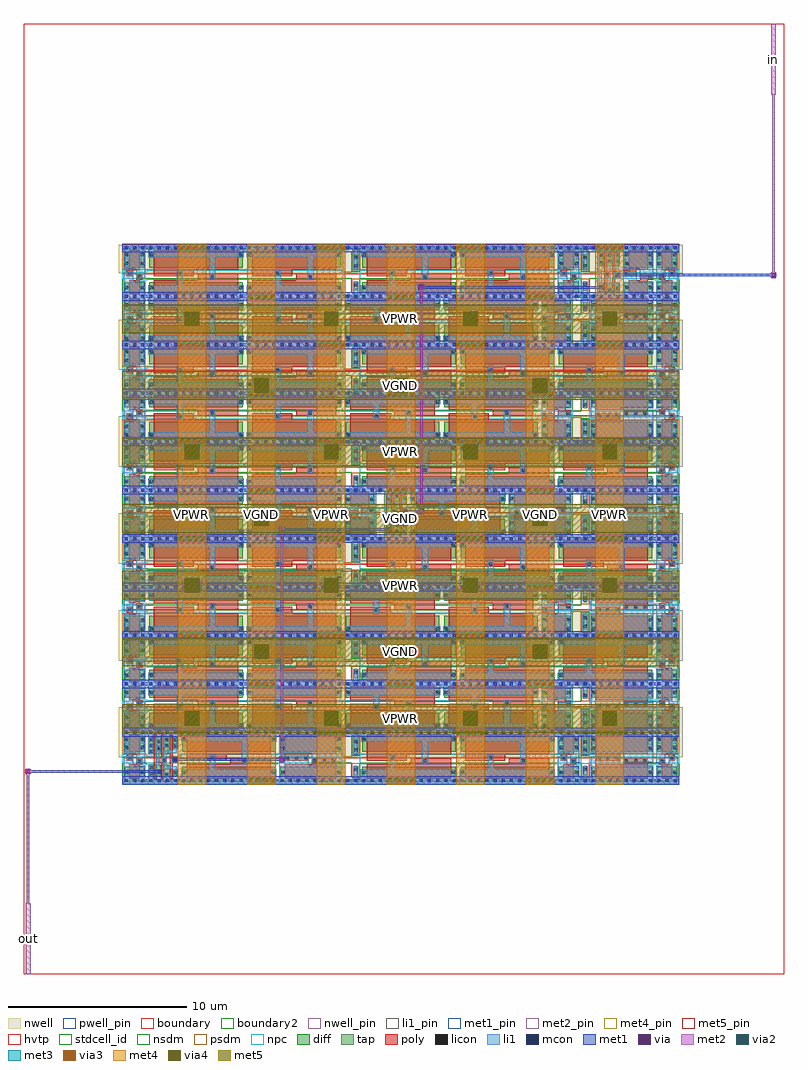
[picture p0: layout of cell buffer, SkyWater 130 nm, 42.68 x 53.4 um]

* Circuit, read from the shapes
.subckt buffer VGND VPWR in out
XM1 VGND VPWR VGND VGND sky130_fd_pr__nfet_01v8 w=0.55 l=0.59 m=24
XM2 VGND VPWR VGND VGND sky130_fd_pr__nfet_01v8 w=0.55 l=4.73 m=46
XM3 out n1 VGND VGND sky130_fd_pr__nfet_01v8 w=0.65 l=0.15 m=2
XM4 n1 sky130_fd_sc_hd__buf_2_4/A VGND VGND sky130_fd_pr__nfet_01v8 w=0.42 l=0.15
XM5 VGND VPWR VGND VGND sky130_fd_pr__nfet_01v8 w=0.55 l=2.89 m=8
XM6 VGND VPWR VGND VGND sky130_fd_pr__nfet_01v8 w=0.55 l=1.05 m=6
XM7 VGND n2 sky130_fd_sc_hd__buf_2_4/A VGND sky130_fd_pr__nfet_01v8 w=0.52 l=0.15
XM8 n2 sky130_fd_sc_hd__clkbuf_1_56/A VGND VGND sky130_fd_pr__nfet_01v8 w=0.52 l=0.15
XM9 VGND n3 sky130_fd_sc_hd__clkbuf_1_56/A VGND sky130_fd_pr__nfet_01v8 w=0.52 l=0.15
XM10 n3 in VGND VGND sky130_fd_pr__nfet_01v8 w=0.52 l=0.15
XM11 VPWR VGND VPWR VPWR sky130_fd_pr__pfet_01v8_hvt w=0.87 l=0.59 m=24
XM12 VPWR VGND VPWR VPWR sky130_fd_pr__pfet_01v8_hvt w=0.87 l=4.73 m=46
XM13 out n1 VPWR VPWR sky130_fd_pr__pfet_01v8_hvt w=1 l=0.15 m=2
XM14 n1 sky130_fd_sc_hd__buf_2_4/A VPWR VPWR sky130_fd_pr__pfet_01v8_hvt w=0.64 l=0.15
XM15 VPWR VGND VPWR VPWR sky130_fd_pr__pfet_01v8_hvt w=0.87 l=2.89 m=8
XM16 VPWR VGND VPWR VPWR sky130_fd_pr__pfet_01v8_hvt w=0.87 l=1.05 m=6
XM17 VPWR n2 sky130_fd_sc_hd__buf_2_4/A VPWR sky130_fd_pr__pfet_01v8_hvt w=0.79 l=0.15
XM18 n2 sky130_fd_sc_hd__clkbuf_1_56/A VPWR VPWR sky130_fd_pr__pfet_01v8_hvt w=0.79 l=0.15
XM19 VPWR n3 sky130_fd_sc_hd__clkbuf_1_56/A VPWR sky130_fd_pr__pfet_01v8_hvt w=0.79 l=0.15
XM20 n3 in VPWR VPWR sky130_fd_pr__pfet_01v8_hvt w=0.79 l=0.15
.ends

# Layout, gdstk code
from math import pi, radians
import gdstk
lib = gdstk.Library(unit=1e-6, precision=1e-09)
def R(c, l, rs):  # rectangles x0, y0, x1, y1
    for r in rs: c.add(gdstk.rectangle(r[:2], r[2:], *l))
def A(c, l, x, y, w, h, nx, ny, dx, dy):  # array of equal rectangles
    R(c, l, [(x+i*dx, y+j*dy, x+i*dx+w, y+j*dy+h) for i in range(nx) for j in range(ny)])
def P(c, l, *ps):  # polygons
    for p in ps: c.add(gdstk.Polygon(p, *l))
nwell_pin = (64, 16)
nwell = (64, 20)
diff = (65, 20)
tap = (65, 44)
poly = (66, 20)
licon = (66, 44)
li1_pin = (67, 16)
li1 = (67, 20)
mcon = (67, 44)
met1_pin = (68, 16)
met1 = (68, 20)
via = (68, 44)
met2_pin = (69, 16)
met2 = (69, 20)
via2 = (69, 44)
met3 = (70, 20)
via3 = (70, 44)
met4_pin = (71, 16)
met4 = (71, 20)
via4 = (71, 44)
met5_pin = (72, 16)
met5 = (72, 20)
hvtp = (78, 44)
stdcell_id = (81, 4)
nsdm = (93, 44)
psdm = (94, 20)
npc = (95, 20)
pwell_pin = (122, 16)
boundary = (235, 4)
boundary2 = (236, 0)

sky130_ef_sc_hd__decap_1 = lib.new_cell('sky130_ef_sc_hd__decap_12')
R(sky130_ef_sc_hd__decap_1, nwell_pin, [(0.145,2.635,0.315,2.805)])
R(sky130_ef_sc_hd__decap_1, nwell, [(-0.19,1.305,5.71,2.91)])
R(sky130_ef_sc_hd__decap_1, diff, [(0.135,0.235,5.385,0.785), (0.135,1.615,5.385,2.485)])
P(sky130_ef_sc_hd__decap_1, poly, [(5.125,2.615),(0.395,2.615),(0.395,1.125),(2.645,1.125),(2.645,1.485),(5.125,1.485)],
  [(5.125,1.275),(2.855,1.275),(2.855,0.915),(0.395,0.915),(0.395,0.105),(5.125,0.105)])
R(sky130_ef_sc_hd__decap_1, licon, [(0.175,0.39,0.345,0.56), (5.175,0.39,5.345,0.56), (3.575,1.025,3.745,1.195), (1.755,1.205,1.925,1.375), (0.175,2.255,0.345,2.425), (5.175,2.255,5.345,2.425)])
R(sky130_ef_sc_hd__decap_1, li1, [(0.085,0.085,5.43,0.63), (1.67,0.63,2.01,1.46), (3.49,0.95,3.84,2.2), (0.085,2.2,5.43,2.635), (0,2.635,5.52,2.805)])
P(sky130_ef_sc_hd__decap_1, li1, [(0,-0.085),(5.52,-0.085),(5.52,0.085),(0,0.085),(0,0)])
A(sky130_ef_sc_hd__decap_1, mcon, 0.145, -0.085, 0.17, 0.17, 12, 2, 0.46, 2.72)
R(sky130_ef_sc_hd__decap_1, met1_pin, [(0.145,-0.085,0.315,0.085), (0.145,2.635,0.315,2.805)])
R(sky130_ef_sc_hd__decap_1, hvtp, [(0,1.25,5.52,2.72)])
R(sky130_ef_sc_hd__decap_1, stdcell_id, [(0,0,5.52,2.72)])
R(sky130_ef_sc_hd__decap_1, nsdm, [(0,-0.19,5.52,1.015)])
R(sky130_ef_sc_hd__decap_1, psdm, [(0,1.485,5.52,2.91)])
R(sky130_ef_sc_hd__decap_1, npc, [(0,0.925,5.52,1.475)])
R(sky130_ef_sc_hd__decap_1, pwell_pin, [(0.145,-0.085,0.315,0.085)])
R(sky130_ef_sc_hd__decap_1, boundary2, [(0,0,5.52,2.72)])
sky130_ef_sc_hd__decap_1.add(gdstk.FlexPath([(0,2.72),(5.52,2.72)], 0.48, ends="flush", simple_path=True, layer=68, datatype=20))  # met1
sky130_ef_sc_hd__decap_1.add(gdstk.FlexPath([(0,0),(5.52,0)], 0.48, ends="flush", simple_path=True, layer=68, datatype=20))  # met1
sky130_ef_sc_hd__decap_1.add(gdstk.Label('VGND', (0.23,0), layer=68, texttype=5))
sky130_ef_sc_hd__decap_1.add(gdstk.Label('VPWR', (0.23,2.72), layer=68, texttype=5))
sky130_ef_sc_hd__decap_1.add(gdstk.Label('VPB', (0.23,2.72), layer=64, texttype=5))
sky130_ef_sc_hd__decap_1.add(gdstk.Label('VNB', (0.23,0), layer=64, texttype=59))
sky130_ef_sc_hd__decap_1.add(gdstk.Label('decap_12', (0,0), layer=83, texttype=44))

sky130_fd_sc_hd__decap_3 = lib.new_cell('sky130_fd_sc_hd__decap_3')
R(sky130_fd_sc_hd__decap_3, nwell_pin, [(0.145,2.635,0.315,2.805)])
R(sky130_fd_sc_hd__decap_3, nwell, [(-0.19,1.305,1.57,2.91)])
R(sky130_fd_sc_hd__decap_3, diff, [(0.135,0.235,1.245,0.785), (0.135,1.615,1.245,2.485)])
P(sky130_fd_sc_hd__decap_3, poly, [(1.125,1.255),(0.795,1.255),(0.795,0.915),(0.395,0.915),(0.395,0.105),(0.985,0.105),(0.985,0.925),(1.125,0.925)],
  [(0.985,2.615),(0.395,2.615),(0.395,1.455),(0.255,1.455),(0.255,1.125),(0.585,1.125),(0.585,1.465),(0.985,1.465)])
R(sky130_fd_sc_hd__decap_3, licon, [(0.175,0.4,0.345,0.57), (1.035,0.4,1.205,0.57), (0.875,1.005,1.045,1.175), (0.335,1.205,0.505,1.375), (0.175,1.78,0.345,1.95), (1.035,1.78,1.205,1.95), (0.175,2.255,0.345,2.425), (1.035,2.255,1.205,2.425)])
P(sky130_fd_sc_hd__decap_3, li1, [(1.38,2.805),(0,2.805),(0,2.635),(0.085,2.635),(0.085,1.545),(0.775,1.545),(0.775,1.005),(1.295,1.005),(1.295,2.635),(1.38,2.635)],
  [(1.38,0.085),(1.295,0.085),(1.295,0.835),(0.605,0.835),(0.605,1.375),(0.085,1.375),(0.085,0.085),(0,0.085),(0,-0.085),(1.38,-0.085)])
A(sky130_fd_sc_hd__decap_3, mcon, 0.145, -0.085, 0.17, 0.17, 3, 2, 0.46, 2.72)
R(sky130_fd_sc_hd__decap_3, met1_pin, [(0.145,-0.085,0.315,0.085), (0.145,2.635,0.315,2.805)])
R(sky130_fd_sc_hd__decap_3, hvtp, [(0,1.25,1.38,2.72)])
R(sky130_fd_sc_hd__decap_3, stdcell_id, [(0,0,1.38,2.72)])
R(sky130_fd_sc_hd__decap_3, nsdm, [(0,-0.19,1.38,1.015)])
R(sky130_fd_sc_hd__decap_3, psdm, [(0,1.485,1.38,2.91)])
P(sky130_fd_sc_hd__decap_3, npc, [(1.38,1.345),(0.605,1.345),(0.605,1.475),(0,1.475),(0,0.975),(0.775,0.975),(0.775,0.905),(1.38,0.905)])
R(sky130_fd_sc_hd__decap_3, pwell_pin, [(0.145,-0.085,0.315,0.085)])
R(sky130_fd_sc_hd__decap_3, boundary2, [(0,0,1.38,2.72)])
sky130_fd_sc_hd__decap_3.add(gdstk.FlexPath([(0,2.72),(1.38,2.72)], 0.48, ends="flush", simple_path=True, layer=68, datatype=20))  # met1
sky130_fd_sc_hd__decap_3.add(gdstk.FlexPath([(0,0),(1.38,0)], 0.48, ends="flush", simple_path=True, layer=68, datatype=20))  # met1
sky130_fd_sc_hd__decap_3.add(gdstk.Label('VPWR', (0.23,2.72), layer=68, texttype=5))
sky130_fd_sc_hd__decap_3.add(gdstk.Label('VGND', (0.23,0), layer=68, texttype=5))
sky130_fd_sc_hd__decap_3.add(gdstk.Label('VPB', (0.23,2.72), layer=64, texttype=5))
sky130_fd_sc_hd__decap_3.add(gdstk.Label('VNB', (0.23,0), layer=64, texttype=59))
sky130_fd_sc_hd__decap_3.add(gdstk.Label('decap_3', (0,0), layer=83, texttype=44))

sky130_fd_sc_hd__buf_2 = lib.new_cell('sky130_fd_sc_hd__buf_2')
R(sky130_fd_sc_hd__buf_2, nwell_pin, [(0.145,2.635,0.315,2.805)])
R(sky130_fd_sc_hd__buf_2, nwell, [(-0.19,1.305,2.03,2.91)])
P(sky130_fd_sc_hd__buf_2, diff, [(1.705,2.485),(0.62,2.485),(0.62,2.445),(0.135,2.445),(0.135,1.805),(0.62,1.805),(0.62,1.485),(1.705,1.485)],
  [(1.705,0.885),(0.62,0.885),(0.62,0.655),(0.135,0.655),(0.135,0.235),(1.705,0.235)])
P(sky130_fd_sc_hd__buf_2, poly, [(1.44,2.615),(1.29,2.615),(1.29,1.325),(1.02,1.325),(1.02,2.615),(0.87,2.615),(0.87,1.325),(0.755,1.325),(0.755,0.995),(0.87,0.995),(0.87,0.105),(1.02,0.105),(1.02,0.995),(1.29,0.995),(1.29,0.105),(1.44,0.105)],
  [(0.545,2.575),(0.395,2.575),(0.395,1.325),(0.135,1.325),(0.135,0.995),(0.395,0.995),(0.395,0.105),(0.545,0.105)])
A(sky130_fd_sc_hd__buf_2, licon, 1.49, 1.575, 0.17, 0.17, 1, 3, 0, 0.34)
R(sky130_fd_sc_hd__buf_2, licon, [(0.64,0.295,0.81,0.465), (1.49,0.315,1.66,0.485), (0.175,0.36,0.345,0.53), (1.07,0.445,1.24,0.615), (1.49,0.655,1.66,0.825), (0.185,1.075,0.355,1.245), (0.805,1.075,0.975,1.245), (1.07,1.73,1.24,1.9), (0.175,1.875,0.345,2.045), (0.64,1.875,0.81,2.045), (1.07,2.135,1.24,2.305), (0.175,2.215,0.345,2.385), (0.64,2.215,0.81,2.385)])
R(sky130_fd_sc_hd__buf_2, li1_pin, [(0.145,-0.085,0.315,0.085), (1.06,0.425,1.23,0.595), (0.145,1.105,0.315,1.275), (1.06,1.785,1.23,1.955), (1.06,2.125,1.23,2.295), (0.145,2.635,0.315,2.805)])
R(sky130_fd_sc_hd__buf_2, li1, [(0.085,0.985,0.44,1.355)])
P(sky130_fd_sc_hd__buf_2, li1, [(0.975,1.325),(0.89,1.325),(0.89,1.705),(0.345,1.705),(0.345,2.465),(0.175,2.465),(0.175,1.535),(0.72,1.535),(0.72,0.805),(0.175,0.805),(0.175,0.255),(0.345,0.255),(0.345,0.635),(0.89,0.635),(0.89,0.995),(0.975,0.995)],
  [(1.315,2.465),(1.06,2.465),(1.06,1.56),(1.145,1.56),(1.145,0.83),(1.06,0.83),(1.06,0.255),(1.315,0.255)],
  [(1.84,2.805),(0,2.805),(0,2.635),(0.56,2.635),(0.56,1.875),(0.89,1.875),(0.89,2.635),(1.49,2.635),(1.49,1.485),(1.75,1.485),(1.75,2.635),(1.84,2.635)],
  [(1.84,0.085),(1.75,0.085),(1.75,0.925),(1.49,0.925),(1.49,0.085),(0.89,0.085),(0.89,0.465),(0.56,0.465),(0.56,0.085),(0,0.085),(0,-0.085),(1.84,-0.085)])
A(sky130_fd_sc_hd__buf_2, mcon, 0.145, -0.085, 0.17, 0.17, 4, 2, 0.46, 2.72)
R(sky130_fd_sc_hd__buf_2, met1_pin, [(0.145,-0.085,0.315,0.085), (0.145,2.635,0.315,2.805)])
R(sky130_fd_sc_hd__buf_2, hvtp, [(0,1.25,1.84,2.72)])
R(sky130_fd_sc_hd__buf_2, stdcell_id, [(0,0,1.84,2.72)])
R(sky130_fd_sc_hd__buf_2, nsdm, [(0,-0.19,1.84,1.015)])
R(sky130_fd_sc_hd__buf_2, psdm, [(0,1.355,1.84,2.91)])
R(sky130_fd_sc_hd__buf_2, npc, [(0,0.975,1.84,1.345)])
R(sky130_fd_sc_hd__buf_2, pwell_pin, [(0.145,-0.085,0.315,0.085)])
R(sky130_fd_sc_hd__buf_2, boundary2, [(0,0,1.84,2.72)])
sky130_fd_sc_hd__buf_2.add(gdstk.FlexPath([(0,0),(1.84,0)], 0.48, ends="flush", simple_path=True, layer=68, datatype=20))  # met1
sky130_fd_sc_hd__buf_2.add(gdstk.FlexPath([(0,2.72),(1.84,2.72)], 0.48, ends="flush", simple_path=True, layer=68, datatype=20))  # met1
sky130_fd_sc_hd__buf_2.add(gdstk.Label('VPWR', (0.23,2.72), layer=68, texttype=5))
sky130_fd_sc_hd__buf_2.add(gdstk.Label('VGND', (0.23,0), layer=68, texttype=5))
sky130_fd_sc_hd__buf_2.add(gdstk.Label('VPWR', (0.23,2.72), layer=67, texttype=5))
sky130_fd_sc_hd__buf_2.add(gdstk.Label('VGND', (0.23,0), layer=67, texttype=5))
sky130_fd_sc_hd__buf_2.add(gdstk.Label('X', (1.145,0.51), layer=67, texttype=5))
sky130_fd_sc_hd__buf_2.add(gdstk.Label('X', (1.145,1.87), layer=67, texttype=5))
sky130_fd_sc_hd__buf_2.add(gdstk.Label('X', (1.145,2.21), layer=67, texttype=5))
sky130_fd_sc_hd__buf_2.add(gdstk.Label('A', (0.23,1.19), layer=67, texttype=5))
sky130_fd_sc_hd__buf_2.add(gdstk.Label('VPB', (0.23,2.72), layer=64, texttype=5))
sky130_fd_sc_hd__buf_2.add(gdstk.Label('VNB', (0.23,0), layer=64, texttype=59))
sky130_fd_sc_hd__buf_2.add(gdstk.Label('buf_2', (0,0), layer=83, texttype=44))

sky130_fd_sc_hd__decap_8 = lib.new_cell('sky130_fd_sc_hd__decap_8')
R(sky130_fd_sc_hd__decap_8, nwell_pin, [(0.145,2.635,0.315,2.805)])
R(sky130_fd_sc_hd__decap_8, nwell, [(-0.19,1.305,3.87,2.91)])
R(sky130_fd_sc_hd__decap_8, diff, [(0.135,0.235,3.545,0.785), (0.135,1.615,3.545,2.485)])
P(sky130_fd_sc_hd__decap_8, poly, [(3.285,2.615),(0.395,2.615),(0.395,1.125),(1.715,1.125),(1.715,1.485),(3.285,1.485)],
  [(3.285,1.275),(1.925,1.275),(1.925,0.915),(0.395,0.915),(0.395,0.105),(3.285,0.105)])
A(sky130_fd_sc_hd__decap_8, licon, 2.005, 1.025, 0.17, 0.17, 3, 1, 0.515, 0)
A(sky130_fd_sc_hd__decap_8, licon, 0.475, 1.205, 0.17, 0.17, 3, 1, 0.495, 0)
R(sky130_fd_sc_hd__decap_8, licon, [(0.175,0.39,0.345,0.56), (3.335,0.39,3.505,0.56), (0.175,1.745,0.345,1.915), (3.335,1.745,3.505,1.915), (0.175,2.255,0.345,2.425), (3.335,2.255,3.505,2.425)])
P(sky130_fd_sc_hd__decap_8, li1, [(3.68,0.085),(3.595,0.085),(3.595,0.855),(1.735,0.855),(1.735,1.375),(0.085,1.375),(0.085,0.085),(0,0.085),(0,-0.085),(3.68,-0.085)],
  [(3.68,2.805),(0,2.805),(0,2.635),(0.085,2.635),(0.085,1.545),(1.905,1.545),(1.905,1.025),(3.595,1.025),(3.595,2.635),(3.68,2.635)])
A(sky130_fd_sc_hd__decap_8, mcon, 0.145, -0.085, 0.17, 0.17, 8, 2, 0.46, 2.72)
R(sky130_fd_sc_hd__decap_8, met1_pin, [(0.145,-0.085,0.315,0.085), (0.145,2.635,0.315,2.805)])
R(sky130_fd_sc_hd__decap_8, hvtp, [(0,1.25,3.68,2.72)])
R(sky130_fd_sc_hd__decap_8, stdcell_id, [(0,0,3.68,2.72)])
R(sky130_fd_sc_hd__decap_8, nsdm, [(0,-0.19,3.68,1.015)])
R(sky130_fd_sc_hd__decap_8, psdm, [(0,1.485,3.68,2.91)])
P(sky130_fd_sc_hd__decap_8, npc, [(3.68,1.345),(1.735,1.345),(1.735,1.475),(0,1.475),(0,0.975),(1.905,0.975),(1.905,0.925),(3.68,0.925)])
R(sky130_fd_sc_hd__decap_8, pwell_pin, [(0.145,-0.085,0.315,0.085)])
R(sky130_fd_sc_hd__decap_8, boundary2, [(0,0,3.68,2.72)])
sky130_fd_sc_hd__decap_8.add(gdstk.FlexPath([(0,2.72),(3.68,2.72)], 0.48, ends="flush", simple_path=True, layer=68, datatype=20))  # met1
sky130_fd_sc_hd__decap_8.add(gdstk.FlexPath([(0,0),(3.68,0)], 0.48, ends="flush", simple_path=True, layer=68, datatype=20))  # met1
sky130_fd_sc_hd__decap_8.add(gdstk.Label('VPWR', (0.23,2.72), layer=68, texttype=5))
sky130_fd_sc_hd__decap_8.add(gdstk.Label('VGND', (0.23,0), layer=68, texttype=5))
sky130_fd_sc_hd__decap_8.add(gdstk.Label('VPB', (0.23,2.72), layer=64, texttype=5))
sky130_fd_sc_hd__decap_8.add(gdstk.Label('VNB', (0.23,0), layer=64, texttype=59))
sky130_fd_sc_hd__decap_8.add(gdstk.Label('decap_8', (0,0), layer=83, texttype=44))

sky130_fd_sc_hd__fill_1 = lib.new_cell('sky130_fd_sc_hd__fill_1')
R(sky130_fd_sc_hd__fill_1, nwell_pin, [(0.155,2.67,0.255,2.755)])
R(sky130_fd_sc_hd__fill_1, nwell, [(-0.19,1.305,0.65,2.91)])
R(sky130_fd_sc_hd__fill_1, mcon, [(0.145,-0.085,0.315,0.085), (0.145,2.635,0.315,2.805)])
R(sky130_fd_sc_hd__fill_1, met1_pin, [(0.11,-0.065,0.29,0.08), (0.11,2.635,0.29,2.785)])
R(sky130_fd_sc_hd__fill_1, hvtp, [(0,1.25,0.46,2.72)])
R(sky130_fd_sc_hd__fill_1, stdcell_id, [(0,0,0.46,2.72)])
R(sky130_fd_sc_hd__fill_1, nsdm, [(0,-0.19,0.46,1.015)])
R(sky130_fd_sc_hd__fill_1, psdm, [(0,1.355,0.46,2.91)])
R(sky130_fd_sc_hd__fill_1, pwell_pin, [(0.14,-0.055,0.26,0.055)])
sky130_fd_sc_hd__fill_1.add(gdstk.FlexPath([(0,0),(0.46,0)], 0.17, ends="flush", simple_path=True, layer=67, datatype=20))  # li1
sky130_fd_sc_hd__fill_1.add(gdstk.FlexPath([(0,2.72),(0.46,2.72)], 0.17, ends="flush", simple_path=True, layer=67, datatype=20))  # li1
sky130_fd_sc_hd__fill_1.add(gdstk.FlexPath([(0,2.72),(0.46,2.72)], 0.48, ends="flush", simple_path=True, layer=68, datatype=20))  # met1
sky130_fd_sc_hd__fill_1.add(gdstk.FlexPath([(0,0),(0.46,0)], 0.48, ends="flush", simple_path=True, layer=68, datatype=20))  # met1
sky130_fd_sc_hd__fill_1.add(gdstk.Label('VPWR', (0.205,2.72), layer=68, texttype=5))
sky130_fd_sc_hd__fill_1.add(gdstk.Label('VGND', (0.205,0), layer=68, texttype=5))
sky130_fd_sc_hd__fill_1.add(gdstk.Label('VPB', (0.23,2.72), layer=64, texttype=5))
sky130_fd_sc_hd__fill_1.add(gdstk.Label('VNB', (0.23,0), layer=64, texttype=59))
sky130_fd_sc_hd__fill_1.add(gdstk.Label('fill_1', (0,0), layer=83, texttype=44))

sky130_fd_sc_hd__tapvpwr = lib.new_cell('sky130_fd_sc_hd__tapvpwrvgnd_1')
R(sky130_fd_sc_hd__tapvpwr, nwell, [(-0.19,1.305,0.65,2.91)])
R(sky130_fd_sc_hd__tapvpwr, tap, [(0.145,0.32,0.315,0.845), (0.145,1.525,0.315,2.4)])
R(sky130_fd_sc_hd__tapvpwr, licon, [(0.145,0.555,0.315,0.725), (0.145,1.645,0.315,1.815), (0.145,2.11,0.315,2.28)])
R(sky130_fd_sc_hd__tapvpwr, li1, [(0,-0.085,0.46,0.085), (0.085,0,0.375,0.81), (0.085,1.47,0.375,2.72), (0,2.635,0.46,2.805)])
R(sky130_fd_sc_hd__tapvpwr, mcon, [(0.145,-0.085,0.315,0.085), (0.145,2.635,0.315,2.805)])
R(sky130_fd_sc_hd__tapvpwr, met1_pin, [(0.105,-0.09,0.36,0.1), (0.11,2.62,0.375,2.765)])
R(sky130_fd_sc_hd__tapvpwr, met1, [(0,-0.24,0.46,0.24), (0,2.48,0.46,2.96)])
R(sky130_fd_sc_hd__tapvpwr, hvtp, [(0,1.25,0.46,2.72)])
R(sky130_fd_sc_hd__tapvpwr, stdcell_id, [(0,0,0.46,2.72)])
R(sky130_fd_sc_hd__tapvpwr, nsdm, [(0,-0.19,0.46,0.19), (0,1.395,0.46,2.53)])
R(sky130_fd_sc_hd__tapvpwr, psdm, [(0,0.19,0.46,0.975), (0,2.53,0.46,2.91)])
sky130_fd_sc_hd__tapvpwr.add(gdstk.Label('VPWR', (0.23,2.72), layer=68, texttype=5))
sky130_fd_sc_hd__tapvpwr.add(gdstk.Label('VGND', (0.23,0), layer=68, texttype=5))
sky130_fd_sc_hd__tapvpwr.add(gdstk.Label('tapvpwrvgnd_1', (0,0), layer=83, texttype=44))

sky130_fd_sc_hd__decap_4 = lib.new_cell('sky130_fd_sc_hd__decap_4')
R(sky130_fd_sc_hd__decap_4, nwell_pin, [(0.145,2.635,0.315,2.805)])
R(sky130_fd_sc_hd__decap_4, nwell, [(-0.19,1.305,2.03,2.91)])
R(sky130_fd_sc_hd__decap_4, diff, [(0.135,0.235,1.705,0.785), (0.135,1.615,1.705,2.485)])
P(sky130_fd_sc_hd__decap_4, poly, [(1.445,2.615),(0.395,2.615),(0.395,1.455),(0.105,1.455),(0.105,1.125),(0.815,1.125),(0.815,1.485),(1.445,1.485)],
  [(1.735,1.275),(1.025,1.275),(1.025,0.915),(0.395,0.915),(0.395,0.105),(1.445,0.105),(1.445,0.945),(1.735,0.945)])
R(sky130_fd_sc_hd__decap_4, licon, [(0.175,0.425,0.345,0.595), (1.495,0.425,1.665,0.595), (1.485,1.025,1.655,1.195), (0.185,1.205,0.355,1.375), (0.175,1.745,0.345,1.915), (1.495,1.745,1.665,1.915), (0.175,2.255,0.345,2.425), (1.495,2.255,1.665,2.425)])
P(sky130_fd_sc_hd__decap_4, li1, [(1.84,2.805),(0,2.805),(0,2.635),(0.085,2.635),(0.085,1.545),(1.005,1.545),(1.005,1.025),(1.755,1.025),(1.755,2.635),(1.84,2.635)],
  [(1.84,0.085),(1.755,0.085),(1.755,0.855),(0.835,0.855),(0.835,1.375),(0.085,1.375),(0.085,0.085),(0,0.085),(0,-0.085),(1.84,-0.085)])
A(sky130_fd_sc_hd__decap_4, mcon, 0.145, -0.085, 0.17, 0.17, 4, 2, 0.46, 2.72)
R(sky130_fd_sc_hd__decap_4, met1_pin, [(0.145,-0.085,0.315,0.085), (0.145,2.635,0.315,2.805)])
R(sky130_fd_sc_hd__decap_4, hvtp, [(0,1.25,1.84,2.72)])
R(sky130_fd_sc_hd__decap_4, stdcell_id, [(0,0,1.84,2.72)])
R(sky130_fd_sc_hd__decap_4, nsdm, [(0,-0.19,1.84,1.015)])
R(sky130_fd_sc_hd__decap_4, psdm, [(0,1.485,1.84,2.91)])
P(sky130_fd_sc_hd__decap_4, npc, [(1.84,1.345),(0.455,1.345),(0.455,1.475),(0,1.475),(0,0.975),(1.385,0.975),(1.385,0.925),(1.84,0.925)])
R(sky130_fd_sc_hd__decap_4, pwell_pin, [(0.145,-0.085,0.315,0.085)])
R(sky130_fd_sc_hd__decap_4, boundary2, [(0,0,1.84,2.72)])
sky130_fd_sc_hd__decap_4.add(gdstk.FlexPath([(0,2.72),(1.84,2.72)], 0.48, ends="flush", simple_path=True, layer=68, datatype=20))  # met1
sky130_fd_sc_hd__decap_4.add(gdstk.FlexPath([(0,0),(1.84,0)], 0.48, ends="flush", simple_path=True, layer=68, datatype=20))  # met1
sky130_fd_sc_hd__decap_4.add(gdstk.Label('VGND', (0.23,0), layer=68, texttype=5))
sky130_fd_sc_hd__decap_4.add(gdstk.Label('VPWR', (0.23,2.72), layer=68, texttype=5))
sky130_fd_sc_hd__decap_4.add(gdstk.Label('VPB', (0.23,2.72), layer=64, texttype=5))
sky130_fd_sc_hd__decap_4.add(gdstk.Label('VNB', (0.23,0), layer=64, texttype=59))
sky130_fd_sc_hd__decap_4.add(gdstk.Label('decap_4', (0,0), layer=83, texttype=44))

sky130_fd_sc_hd__clkbuf_ = lib.new_cell('sky130_fd_sc_hd__clkbuf_1')
R(sky130_fd_sc_hd__clkbuf_, nwell_pin, [(1.065,2.635,1.235,2.805)])
R(sky130_fd_sc_hd__clkbuf_, nwell, [(-0.19,1.305,1.57,2.91)])
R(sky130_fd_sc_hd__clkbuf_, diff, [(0.135,0.235,1.245,0.755), (0.135,1.695,1.245,2.485)])
P(sky130_fd_sc_hd__clkbuf_, poly, [(0.375,1.39),(0.395,1.39),(0.395,2.615),(0.545,2.615),(0.545,1.39),(0.645,1.39),(0.645,1.06),(0.545,1.06),(0.545,0.105),(0.395,0.105),(0.395,1.06),(0.375,1.06)],
  [(1.245,1.325),(1.015,1.325),(1.015,1.62),(0.985,1.62),(0.985,2.615),(0.835,2.615),(0.835,1.5),(0.865,1.5),(0.865,0.95),(0.835,0.95),(0.835,0.105),(0.985,0.105),(0.985,0.83),(1.015,0.83),(1.015,0.995),(1.245,0.995)])
A(sky130_fd_sc_hd__clkbuf_, licon, 0.175, 2.215, 0.17, 0.17, 3, 1, 0.43, 0)
R(sky130_fd_sc_hd__clkbuf_, licon, [(0.605,0.295,0.775,0.465), (1.035,0.36,1.205,0.53), (0.175,0.445,0.345,0.615), (1.025,1.075,1.195,1.245), (0.425,1.14,0.595,1.31), (0.175,1.81,0.345,1.98), (0.605,1.875,0.775,2.045), (1.035,1.875,1.205,2.045)])
R(sky130_fd_sc_hd__clkbuf_, li1_pin, [(0.145,0.425,0.315,0.595), (1.065,1.105,1.235,1.275), (0.145,1.785,0.315,1.955), (0.145,2.125,0.315,2.295)])
R(sky130_fd_sc_hd__clkbuf_, li1, [(0.945,0.985,1.275,1.355)])
P(sky130_fd_sc_hd__clkbuf_, li1, [(0.085,2.465),(0.355,2.465),(0.355,1.56),(0.255,1.56),(0.255,0.76),(0.345,0.76),(0.345,0.255),(0.085,0.255)],
  [(0,0.085),(0.525,0.085),(0.525,0.465),(0.855,0.465),(0.855,0.085),(1.38,0.085),(1.38,-0.085),(0,-0.085)],
  [(0.425,1.39),(0.54,1.39),(0.54,1.705),(1.035,1.705),(1.035,2.465),(1.205,2.465),(1.205,1.535),(0.71,1.535),(0.71,0.805),(1.205,0.805),(1.205,0.255),(1.035,0.255),(1.035,0.635),(0.54,0.635),(0.54,1.06),(0.425,1.06)],
  [(0,2.805),(1.38,2.805),(1.38,2.635),(0.855,2.635),(0.855,1.875),(0.525,1.875),(0.525,2.635),(0,2.635)])
A(sky130_fd_sc_hd__clkbuf_, mcon, 0.145, -0.085, 0.17, 0.17, 3, 2, 0.46, 2.72)
R(sky130_fd_sc_hd__clkbuf_, met1_pin, [(1.065,-0.085,1.235,0.085), (1.065,2.635,1.235,2.805)])
R(sky130_fd_sc_hd__clkbuf_, hvtp, [(0,1.25,1.38,2.72)])
R(sky130_fd_sc_hd__clkbuf_, stdcell_id, [(0,0,1.38,2.72)])
R(sky130_fd_sc_hd__clkbuf_, nsdm, [(0,-0.19,1.38,1.015)])
R(sky130_fd_sc_hd__clkbuf_, psdm, [(0,1.42,1.38,2.91)])
R(sky130_fd_sc_hd__clkbuf_, npc, [(0,0.975,1.38,1.41)])
R(sky130_fd_sc_hd__clkbuf_, pwell_pin, [(1.065,-0.085,1.235,0.085)])
R(sky130_fd_sc_hd__clkbuf_, boundary2, [(0,0,1.38,2.72)])
sky130_fd_sc_hd__clkbuf_.add(gdstk.FlexPath([(1.38,0),(0,0)], 0.48, ends="flush", simple_path=True, layer=68, datatype=20))  # met1
sky130_fd_sc_hd__clkbuf_.add(gdstk.FlexPath([(1.38,2.72),(0,2.72)], 0.48, ends="flush", simple_path=True, layer=68, datatype=20))  # met1
sky130_fd_sc_hd__clkbuf_.add(gdstk.Label('VGND', (1.15,0), layer=68, texttype=5))
sky130_fd_sc_hd__clkbuf_.add(gdstk.Label('VPWR', (1.15,2.72), layer=68, texttype=5))
sky130_fd_sc_hd__clkbuf_.add(gdstk.Label('X', (0.23,0.51), layer=67, texttype=5))
sky130_fd_sc_hd__clkbuf_.add(gdstk.Label('X', (0.23,1.87), layer=67, texttype=5))
sky130_fd_sc_hd__clkbuf_.add(gdstk.Label('X', (0.23,2.21), layer=67, texttype=5))
sky130_fd_sc_hd__clkbuf_.add(gdstk.Label('A', (1.15,1.19), layer=67, texttype=5))
sky130_fd_sc_hd__clkbuf_.add(gdstk.Label('VPB', (1.15,2.72), layer=64, texttype=5))
sky130_fd_sc_hd__clkbuf_.add(gdstk.Label('VNB', (1.15,0), layer=64, texttype=59))
sky130_fd_sc_hd__clkbuf_.add(gdstk.Label('clkbuf_1', (0,0), layer=83, texttype=44))

buffer = lib.new_cell('buffer')
R(buffer, li1, [(7.505,11.305,7.675,11.475), (8.425,11.985,8.595,12.155), (20.385,24.905,20.555,25.075), (21.305,25.925,21.475,26.095), (32.345,38.505,32.515,38.675), (33.265,39.185,33.435,39.355)])
R(buffer, mcon, [(7.505,11.305,7.675,11.475), (8.425,11.985,8.595,12.155), (20.385,24.905,20.555,25.075), (21.305,25.925,21.475,26.095), (32.345,38.505,32.515,38.675), (33.265,39.185,33.435,39.355)])
A(buffer, met1, 5.52, 10.64, 31.28, 0.48, 1, 12, 0, 2.72)
R(buffer, met1, [(0.07,11.26,0.39,11.32), (7.445,11.275,7.735,11.32), (0.07,11.32,7.735,11.46), (0.07,11.46,0.39,11.52), (7.445,11.46,7.735,11.505), (14.33,11.94,14.65,12), (8.365,11.955,8.655,12), (8.365,12,14.65,12.14), (8.365,12.14,8.655,12.185), (14.33,12.14,14.65,12.2), (14.33,24.86,14.65,24.92), (20.325,24.875,20.615,24.92), (14.33,24.92,20.615,25.06), (14.33,25.06,14.65,25.12), (20.325,25.06,20.615,25.105), (22.15,25.88,22.47,25.94), (21.245,25.895,21.535,25.94), (21.245,25.94,22.47,26.08), (21.245,26.08,21.535,26.125), (22.15,26.08,22.47,26.14), (22.15,38.46,22.47,38.52), (32.285,38.475,32.575,38.52), (22.15,38.52,32.575,38.66), (22.15,38.66,22.47,38.72), (32.285,38.66,32.575,38.705), (41.93,39.14,42.25,39.2), (33.205,39.155,33.495,39.2), (33.205,39.2,42.25,39.34), (33.205,39.34,33.495,39.385), (41.93,39.34,42.25,39.4)])
A(buffer, via, 12.625, 10.805, 0.15, 0.15, 5, 6, 0.32, 5.44)
A(buffer, via, 20.445, 10.805, 0.15, 0.15, 5, 6, 0.32, 5.44)
A(buffer, via, 28.265, 10.805, 0.15, 0.15, 5, 6, 0.32, 5.44)
A(buffer, via, 8.715, 13.525, 0.15, 0.15, 5, 6, 0.32, 5.44)
A(buffer, via, 16.535, 13.525, 0.15, 0.15, 5, 6, 0.32, 5.44)
A(buffer, via, 24.355, 13.525, 0.15, 0.15, 5, 6, 0.32, 5.44)
A(buffer, via, 32.175, 13.525, 0.15, 0.15, 5, 6, 0.32, 5.44)
R(buffer, via, [(0.155,11.315,0.305,11.465), (14.415,11.995,14.565,12.145), (14.415,24.915,14.565,25.065), (22.235,25.935,22.385,26.085), (22.235,38.515,22.385,38.665), (42.015,39.195,42.165,39.345)])
R(buffer, met2_pin, [(0.09,0,0.37,4), (41.95,49.4,42.23,53.4)])
A(buffer, met2, 12.57, 10.64, 1.54, 0.48, 3, 6, 7.82, 5.44)
A(buffer, met2, 8.66, 13.36, 1.54, 0.48, 4, 6, 7.82, 5.44)
R(buffer, met2, [(0.09,0,0.37,4), (0.16,4,0.3,11.23), (0.1,11.23,0.36,11.55), (14.36,11.91,14.62,12.23), (14.42,12.23,14.56,24.83), (14.36,24.83,14.62,25.15), (22.18,25.85,22.44,26.17), (22.24,26.17,22.38,38.43), (22.18,38.43,22.44,38.75), (41.96,39.11,42.22,39.43), (42.02,39.43,42.16,49.4), (41.95,49.4,42.23,53.4)])
A(buffer, via2, 12.64, 10.78, 0.2, 0.2, 4, 6, 0.4, 5.44)
A(buffer, via2, 20.46, 10.78, 0.2, 0.2, 4, 6, 0.4, 5.44)
A(buffer, via2, 28.28, 10.78, 0.2, 0.2, 4, 6, 0.4, 5.44)
A(buffer, via2, 8.73, 13.5, 0.2, 0.2, 4, 6, 0.4, 5.44)
A(buffer, via2, 16.55, 13.5, 0.2, 0.2, 4, 6, 0.4, 5.44)
A(buffer, via2, 24.37, 13.5, 0.2, 0.2, 4, 6, 0.4, 5.44)
A(buffer, via2, 32.19, 13.5, 0.2, 0.2, 4, 6, 0.4, 5.44)
A(buffer, met3, 12.54, 10.715, 1.6, 0.33, 3, 6, 7.82, 5.44)
A(buffer, met3, 8.63, 13.435, 1.6, 0.33, 4, 6, 7.82, 5.44)
A(buffer, via3, 12.64, 10.78, 0.2, 0.2, 4, 6, 0.4, 5.44)
A(buffer, via3, 20.46, 10.78, 0.2, 0.2, 4, 6, 0.4, 5.44)
A(buffer, via3, 28.28, 10.78, 0.2, 0.2, 4, 6, 0.4, 5.44)
A(buffer, via3, 8.73, 13.5, 0.2, 0.2, 4, 6, 0.4, 5.44)
A(buffer, via3, 16.55, 13.5, 0.2, 0.2, 4, 6, 0.4, 5.44)
A(buffer, via3, 24.37, 13.5, 0.2, 0.2, 4, 6, 0.4, 5.44)
A(buffer, via3, 32.19, 13.5, 0.2, 0.2, 4, 6, 0.4, 5.44)
A(buffer, met4_pin, 8.63, 10.64, 1.6, 30.4, 7, 1, 3.91, 0)
A(buffer, met4, 8.63, 10.64, 1.6, 30.4, 7, 1, 3.91, 0)
A(buffer, via4, 9.03, 13.98, 0.8, 0.8, 4, 4, 7.82, 7.48)
A(buffer, via4, 12.94, 17.72, 0.8, 0.8, 3, 3, 7.82, 7.48)
A(buffer, met5_pin, 5.52, 13.58, 31.28, 1.6, 1, 7, 0, 3.74)
A(buffer, met5, 5.52, 13.58, 31.28, 1.6, 1, 7, 0, 3.74)
R(buffer, boundary, [(0,0,42.68,53.4)])
buffer.add(gdstk.Reference(sky130_ef_sc_hd__decap_1, (8.74,10.88)))
buffer.add(gdstk.Reference(sky130_ef_sc_hd__decap_1, (6.9,16.32), x_reflection=True))
buffer.add(gdstk.Reference(sky130_fd_sc_hd__decap_3, (5.52,10.88)))
buffer.add(gdstk.Reference(sky130_fd_sc_hd__decap_3, (5.52,16.32), x_reflection=True))
buffer.add(gdstk.Reference(sky130_fd_sc_hd__buf_2, (8.74,10.88), rotation=pi, x_reflection=True))
buffer.add(gdstk.Reference(sky130_fd_sc_hd__decap_8, (14.26,10.88)))
buffer.add(gdstk.Reference(sky130_ef_sc_hd__decap_1, (12.42,16.32), x_reflection=True))
buffer.add(gdstk.Reference(sky130_fd_sc_hd__fill_1, (17.94,10.88)))
buffer.add(gdstk.Reference(sky130_ef_sc_hd__decap_1, (18.86,10.88)))
buffer.add(gdstk.Reference(sky130_ef_sc_hd__decap_1, (17.94,16.32), x_reflection=True))
buffer.add(gdstk.Reference(sky130_fd_sc_hd__tapvpwr, (18.4,10.88)))
buffer.add(gdstk.Reference(sky130_ef_sc_hd__decap_1, (24.38,10.88)))
buffer.add(gdstk.Reference(sky130_ef_sc_hd__decap_1, (23.46,16.32), x_reflection=True))
buffer.add(gdstk.Reference(sky130_fd_sc_hd__decap_4, (28.98,16.32), x_reflection=True))
buffer.add(gdstk.Reference(sky130_fd_sc_hd__decap_3, (29.9,10.88)))
buffer.add(gdstk.Reference(sky130_fd_sc_hd__decap_8, (31.74,10.88)))
buffer.add(gdstk.Reference(sky130_fd_sc_hd__fill_1, (30.82,16.32), x_reflection=True))
buffer.add(gdstk.Reference(sky130_fd_sc_hd__decap_8, (31.74,16.32), x_reflection=True))
buffer.add(gdstk.Reference(sky130_fd_sc_hd__tapvpwr, (31.28,10.88)))
buffer.add(gdstk.Reference(sky130_fd_sc_hd__tapvpwr, (31.28,16.32), x_reflection=True))
buffer.add(gdstk.Reference(sky130_fd_sc_hd__decap_3, (36.8,10.88), rotation=pi, x_reflection=True))
buffer.add(gdstk.Reference(sky130_fd_sc_hd__decap_3, (36.8,16.32), rotation=pi))
buffer.add(gdstk.Reference(sky130_ef_sc_hd__decap_1, (6.9,16.32)))
buffer.add(gdstk.Reference(sky130_fd_sc_hd__decap_3, (5.52,16.32)))
buffer.add(gdstk.Reference(sky130_ef_sc_hd__decap_1, (12.42,16.32)))
buffer.add(gdstk.Reference(sky130_fd_sc_hd__fill_1, (17.94,16.32)))
buffer.add(gdstk.Reference(sky130_ef_sc_hd__decap_1, (18.86,16.32)))
buffer.add(gdstk.Reference(sky130_fd_sc_hd__tapvpwr, (18.4,16.32)))
buffer.add(gdstk.Reference(sky130_ef_sc_hd__decap_1, (24.38,16.32)))
buffer.add(gdstk.Reference(sky130_ef_sc_hd__decap_1, (29.9,16.32)))
buffer.add(gdstk.Reference(sky130_fd_sc_hd__decap_3, (36.8,16.32), rotation=pi, x_reflection=True))
buffer.add(gdstk.Reference(sky130_ef_sc_hd__decap_1, (6.9,21.76), x_reflection=True))
buffer.add(gdstk.Reference(sky130_fd_sc_hd__decap_3, (5.52,21.76), x_reflection=True))
buffer.add(gdstk.Reference(sky130_ef_sc_hd__decap_1, (12.42,21.76), x_reflection=True))
buffer.add(gdstk.Reference(sky130_ef_sc_hd__decap_1, (17.94,21.76), x_reflection=True))
buffer.add(gdstk.Reference(sky130_ef_sc_hd__decap_1, (23.46,21.76), x_reflection=True))
buffer.add(gdstk.Reference(sky130_fd_sc_hd__decap_4, (28.98,21.76), x_reflection=True))
buffer.add(gdstk.Reference(sky130_fd_sc_hd__fill_1, (30.82,21.76), x_reflection=True))
buffer.add(gdstk.Reference(sky130_fd_sc_hd__decap_8, (31.74,21.76), x_reflection=True))
buffer.add(gdstk.Reference(sky130_fd_sc_hd__tapvpwr, (31.28,21.76), x_reflection=True))
buffer.add(gdstk.Reference(sky130_fd_sc_hd__decap_3, (36.8,21.76), rotation=pi))
buffer.add(gdstk.Reference(sky130_ef_sc_hd__decap_1, (6.9,21.76)))
buffer.add(gdstk.Reference(sky130_fd_sc_hd__decap_3, (5.52,21.76)))
buffer.add(gdstk.Reference(sky130_ef_sc_hd__decap_1, (12.42,21.76)))
buffer.add(gdstk.Reference(sky130_fd_sc_hd__fill_1, (17.94,21.76)))
buffer.add(gdstk.Reference(sky130_ef_sc_hd__decap_1, (18.86,21.76)))
buffer.add(gdstk.Reference(sky130_fd_sc_hd__tapvpwr, (18.4,21.76)))
buffer.add(gdstk.Reference(sky130_ef_sc_hd__decap_1, (24.38,21.76)))
buffer.add(gdstk.Reference(sky130_ef_sc_hd__decap_1, (29.9,21.76)))
buffer.add(gdstk.Reference(sky130_fd_sc_hd__decap_3, (36.8,21.76), rotation=pi, x_reflection=True))
buffer.add(gdstk.Reference(sky130_ef_sc_hd__decap_1, (6.9,27.2), x_reflection=True))
buffer.add(gdstk.Reference(sky130_fd_sc_hd__decap_3, (5.52,27.2), x_reflection=True))
buffer.add(gdstk.Reference(sky130_ef_sc_hd__decap_1, (12.42,27.2), x_reflection=True))
buffer.add(gdstk.Reference(sky130_fd_sc_hd__decap_4, (17.94,27.2), x_reflection=True))
buffer.add(gdstk.Reference(sky130_fd_sc_hd__fill_1, (19.78,27.2), x_reflection=True))
buffer.add(gdstk.Reference(sky130_ef_sc_hd__decap_1, (21.62,27.2), x_reflection=True))
buffer.add(gdstk.Reference(sky130_fd_sc_hd__clkbuf_, (20.24,27.2), x_reflection=True))
buffer.add(gdstk.Reference(sky130_fd_sc_hd__decap_8, (27.14,27.2), x_reflection=True))
buffer.add(gdstk.Reference(sky130_fd_sc_hd__fill_1, (30.82,27.2), x_reflection=True))
buffer.add(gdstk.Reference(sky130_fd_sc_hd__decap_8, (31.74,27.2), x_reflection=True))
buffer.add(gdstk.Reference(sky130_fd_sc_hd__tapvpwr, (31.28,27.2), x_reflection=True))
buffer.add(gdstk.Reference(sky130_fd_sc_hd__decap_3, (36.8,27.2), rotation=pi))
buffer.add(gdstk.Reference(sky130_ef_sc_hd__decap_1, (6.9,27.2)))
buffer.add(gdstk.Reference(sky130_ef_sc_hd__decap_1, (6.9,32.64), x_reflection=True))
buffer.add(gdstk.Reference(sky130_fd_sc_hd__decap_3, (5.52,27.2)))
buffer.add(gdstk.Reference(sky130_fd_sc_hd__decap_3, (5.52,32.64), x_reflection=True))
buffer.add(gdstk.Reference(sky130_ef_sc_hd__decap_1, (12.42,27.2)))
buffer.add(gdstk.Reference(sky130_ef_sc_hd__decap_1, (12.42,32.64), x_reflection=True))
buffer.add(gdstk.Reference(sky130_fd_sc_hd__fill_1, (17.94,27.2)))
buffer.add(gdstk.Reference(sky130_ef_sc_hd__decap_1, (18.86,27.2)))
buffer.add(gdstk.Reference(sky130_ef_sc_hd__decap_1, (17.94,32.64), x_reflection=True))
buffer.add(gdstk.Reference(sky130_fd_sc_hd__tapvpwr, (18.4,27.2)))
buffer.add(gdstk.Reference(sky130_ef_sc_hd__decap_1, (24.38,27.2)))
buffer.add(gdstk.Reference(sky130_ef_sc_hd__decap_1, (23.46,32.64), x_reflection=True))
buffer.add(gdstk.Reference(sky130_fd_sc_hd__decap_4, (28.98,32.64), x_reflection=True))
buffer.add(gdstk.Reference(sky130_ef_sc_hd__decap_1, (29.9,27.2)))
buffer.add(gdstk.Reference(sky130_fd_sc_hd__fill_1, (30.82,32.64), x_reflection=True))
buffer.add(gdstk.Reference(sky130_fd_sc_hd__decap_8, (31.74,32.64), x_reflection=True))
buffer.add(gdstk.Reference(sky130_fd_sc_hd__tapvpwr, (31.28,32.64), x_reflection=True))
buffer.add(gdstk.Reference(sky130_fd_sc_hd__decap_3, (36.8,27.2), rotation=pi, x_reflection=True))
buffer.add(gdstk.Reference(sky130_fd_sc_hd__decap_3, (36.8,32.64), rotation=pi))
buffer.add(gdstk.Reference(sky130_ef_sc_hd__decap_1, (6.9,32.64)))
buffer.add(gdstk.Reference(sky130_fd_sc_hd__decap_3, (5.52,32.64)))
buffer.add(gdstk.Reference(sky130_ef_sc_hd__decap_1, (12.42,32.64)))
buffer.add(gdstk.Reference(sky130_fd_sc_hd__fill_1, (17.94,32.64)))
buffer.add(gdstk.Reference(sky130_ef_sc_hd__decap_1, (18.86,32.64)))
buffer.add(gdstk.Reference(sky130_fd_sc_hd__tapvpwr, (18.4,32.64)))
buffer.add(gdstk.Reference(sky130_ef_sc_hd__decap_1, (24.38,32.64)))
buffer.add(gdstk.Reference(sky130_ef_sc_hd__decap_1, (29.9,32.64)))
buffer.add(gdstk.Reference(sky130_fd_sc_hd__decap_3, (36.8,32.64), rotation=pi, x_reflection=True))
buffer.add(gdstk.Reference(sky130_ef_sc_hd__decap_1, (6.9,38.08), x_reflection=True))
buffer.add(gdstk.Reference(sky130_fd_sc_hd__decap_3, (5.52,38.08), x_reflection=True))
buffer.add(gdstk.Reference(sky130_ef_sc_hd__decap_1, (12.42,38.08), x_reflection=True))
buffer.add(gdstk.Reference(sky130_ef_sc_hd__decap_1, (17.94,38.08), x_reflection=True))
buffer.add(gdstk.Reference(sky130_ef_sc_hd__decap_1, (23.46,38.08), x_reflection=True))
buffer.add(gdstk.Reference(sky130_fd_sc_hd__decap_4, (28.98,38.08), x_reflection=True))
buffer.add(gdstk.Reference(sky130_fd_sc_hd__fill_1, (30.82,38.08), x_reflection=True))
buffer.add(gdstk.Reference(sky130_fd_sc_hd__decap_8, (31.74,38.08), x_reflection=True))
buffer.add(gdstk.Reference(sky130_fd_sc_hd__tapvpwr, (31.28,38.08), x_reflection=True))
buffer.add(gdstk.Reference(sky130_fd_sc_hd__decap_3, (36.8,38.08), rotation=pi))
buffer.add(gdstk.Reference(sky130_ef_sc_hd__decap_1, (6.9,38.08)))
buffer.add(gdstk.Reference(sky130_fd_sc_hd__decap_3, (5.52,38.08)))
buffer.add(gdstk.Reference(sky130_ef_sc_hd__decap_1, (12.42,38.08)))
buffer.add(gdstk.Reference(sky130_fd_sc_hd__fill_1, (17.94,38.08)))
buffer.add(gdstk.Reference(sky130_ef_sc_hd__decap_1, (18.86,38.08)))
buffer.add(gdstk.Reference(sky130_fd_sc_hd__tapvpwr, (18.4,38.08)))
buffer.add(gdstk.Reference(sky130_ef_sc_hd__decap_1, (24.38,38.08)))
buffer.add(gdstk.Reference(sky130_fd_sc_hd__decap_3, (29.9,38.08)))
buffer.add(gdstk.Reference(sky130_fd_sc_hd__fill_1, (31.74,38.08)))
buffer.add(gdstk.Reference(sky130_fd_sc_hd__decap_4, (33.58,38.08)))
buffer.add(gdstk.Reference(sky130_fd_sc_hd__tapvpwr, (31.28,38.08)))
buffer.add(gdstk.Reference(sky130_fd_sc_hd__clkbuf_, (32.2,38.08)))
buffer.add(gdstk.Reference(sky130_fd_sc_hd__decap_3, (36.8,38.08), rotation=pi, x_reflection=True))
buffer.add(gdstk.Label('VGND', (21.16,18.12), layer=72, texttype=16))
buffer.add(gdstk.Label('VGND', (21.16,25.6), layer=72, texttype=16))
buffer.add(gdstk.Label('VGND', (21.16,33.08), layer=72, texttype=16))
buffer.add(gdstk.Label('VGND', (13.34,25.84), layer=71, texttype=16))
buffer.add(gdstk.Label('VGND', (21.16,25.84), layer=71, texttype=16))
buffer.add(gdstk.Label('VGND', (28.98,25.84), layer=71, texttype=16))
buffer.add(gdstk.Label('VPWR', (21.16,14.38), layer=72, texttype=16))
buffer.add(gdstk.Label('VPWR', (21.16,21.86), layer=72, texttype=16))
buffer.add(gdstk.Label('VPWR', (21.16,29.34), layer=72, texttype=16))
buffer.add(gdstk.Label('VPWR', (21.16,36.82), layer=72, texttype=16))
buffer.add(gdstk.Label('VPWR', (9.43,25.84), layer=71, texttype=16))
buffer.add(gdstk.Label('VPWR', (17.25,25.84), layer=71, texttype=16))
buffer.add(gdstk.Label('VPWR', (25.07,25.84), layer=71, texttype=16))
buffer.add(gdstk.Label('VPWR', (32.89,25.84), layer=71, texttype=16))
buffer.add(gdstk.Label('in', (42.09,51.4), layer=69, texttype=16))
buffer.add(gdstk.Label('out', (0.23,2), layer=69, texttype=16))

lib.write_gds('buffer.gds')
